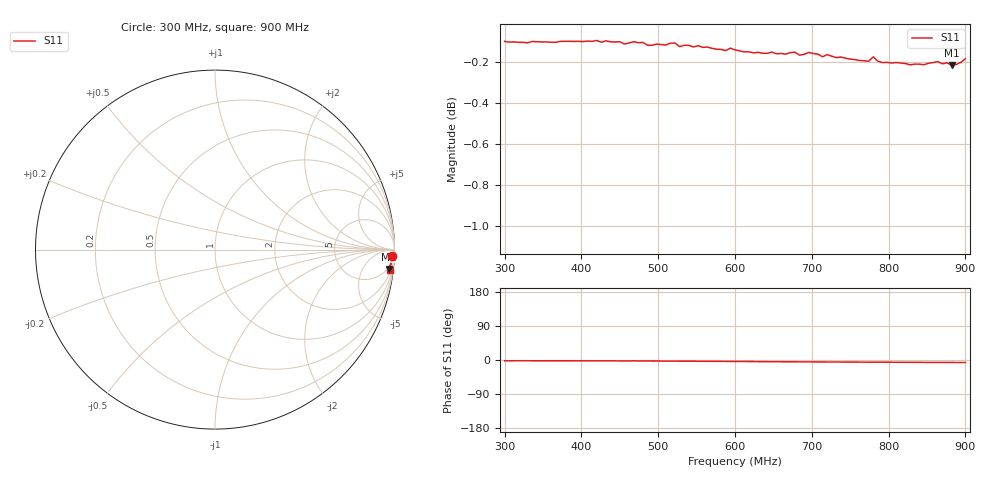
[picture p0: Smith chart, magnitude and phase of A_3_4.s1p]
# HZ S RI R 50
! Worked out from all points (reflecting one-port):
!   101 points, 300 MHz to 900 MHz, reference 50 ohm
!   lowest |S11| = -0.2 dB at 882 MHz (marker M1), VSWR 79.77, Z = 193 - j854 ohm
!   phase of S11 starts at -2 deg and turns -5 deg over the sweep
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3e8  0.9878 -0.0347
3.78e8  0.9878 -0.0359
4.5e8  0.9874 -0.0409
4.62e8  0.9866 -0.0426
4.68e8  0.9875 -0.0387
4.74e8  0.9868 -0.0432
4.92e8  0.9851 -0.0471
5.22e8  0.9862 -0.0507
5.28e8  0.9842 -0.0519
6e8  0.9816 -0.0656
6.48e8  0.9794 -0.0785
6.54e8  0.9786 -0.0772
6.6e8  0.9785 -0.0806
6.78e8  0.9789 -0.0836
6.84e8  0.9772 -0.0844
6.96e8  0.9786 -0.0854
7.14e8  0.976 -0.0883
7.5e8  0.9742 -0.0939
7.74e8  0.9727 -0.097
7.8e8  0.9748 -0.0999
7.86e8  0.9726 -0.0982
8.28e8  0.9701 -0.1034
8.52e8  0.9704 -0.1085
8.58e8  0.9708 -0.1077
8.64e8  0.9711 -0.1104
8.82e8  0.9692 -0.1084
8.94e8  0.9702 -0.1143
9e8  0.9724 -0.112
